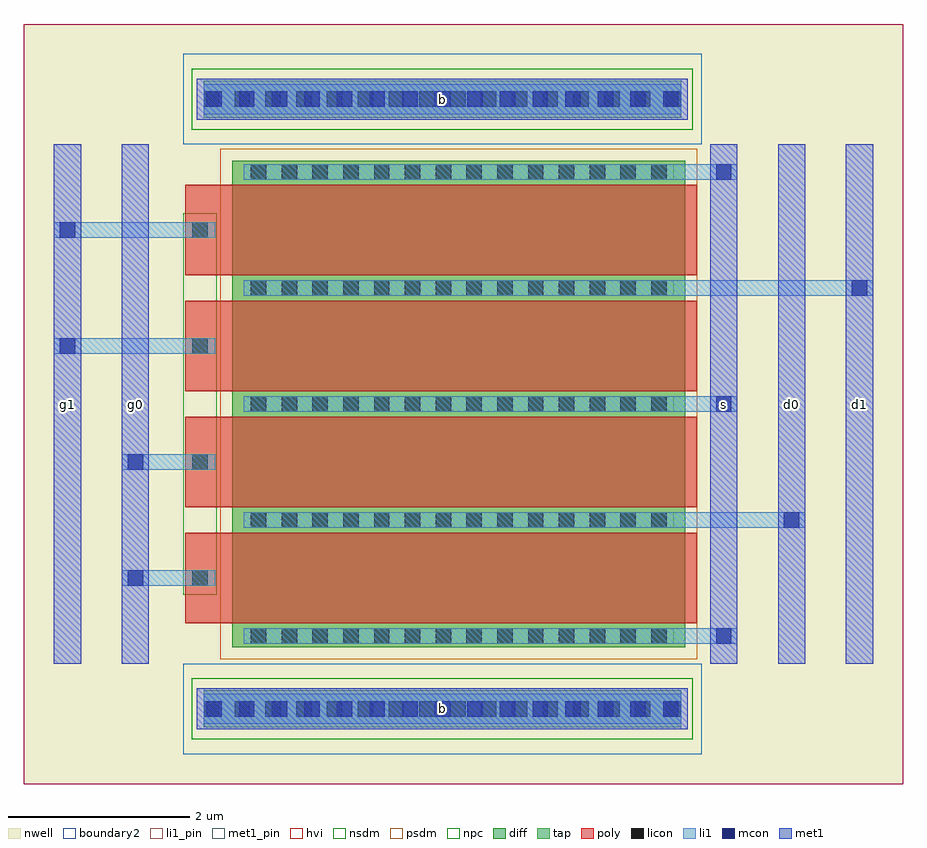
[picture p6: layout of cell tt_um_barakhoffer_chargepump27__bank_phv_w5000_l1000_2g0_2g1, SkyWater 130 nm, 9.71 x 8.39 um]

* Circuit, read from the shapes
.subckt tt_um_barakhoffer_chargepump27__bank_phv_w5000_l1000_2g0_2g1 b d0 d1 g0 g1 s
XM1 d0 g0 s b sky130_fd_pr__pfet_g5v0d10v5 w=5 l=1 m=2
XM2 d1 g1 s b sky130_fd_pr__pfet_g5v0d10v5 w=5 l=1 m=2
.ends

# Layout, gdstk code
import gdstk
lib = gdstk.Library(unit=1e-6, precision=1e-09)
def R(c, l, rs):  # rectangles x0, y0, x1, y1
    for r in rs: c.add(gdstk.rectangle(r[:2], r[2:], *l))
def A(c, l, x, y, w, h, nx, ny, dx, dy):  # array of equal rectangles
    R(c, l, [(x+i*dx, y+j*dy, x+i*dx+w, y+j*dy+h) for i in range(nx) for j in range(ny)])
nwell = (64, 20)
diff = (65, 20)
tap = (65, 44)
poly = (66, 20)
licon = (66, 44)
li1_pin = (67, 16)
li1 = (67, 20)
mcon = (67, 44)
met1_pin = (68, 16)
met1 = (68, 20)
hvi = (75, 20)
nsdm = (93, 44)
psdm = (94, 20)
npc = (95, 20)
boundary2 = (236, 0)

tt_um_barakhoffer_charge = lib.new_cell('tt_um_barakhoffer_chargepump27__mos_11')
R(tt_um_barakhoffer_charge, nwell, [(-0.18,-0.18,5.18,5.55)])
A(tt_um_barakhoffer_charge, diff, 0.145, 0, 4.71, 0.25, 1, 5, 0, 1.28)
R(tt_um_barakhoffer_charge, diff, [(0,0,5,5.37)])
A(tt_um_barakhoffer_charge, poly, -0.52, 0.265, 0.33, 1, 1, 4, 0, 1.28)
A(tt_um_barakhoffer_charge, poly, -0.19, 0.265, 5.32, 1, 1, 4, 0, 1.28)
A(tt_um_barakhoffer_charge, poly, -0.52, 0.63, 0.33, 0.27, 1, 4, 0, 1.28)
A(tt_um_barakhoffer_charge, licon, 0.205, 0.04, 0.17, 0.17, 14, 5, 0.34, 1.28)
A(tt_um_barakhoffer_charge, licon, -0.44, 0.68, 0.17, 0.17, 1, 4, 0, 1.28)
A(tt_um_barakhoffer_charge, li1_pin, 0.125, 0.04, 4.75, 0.17, 1, 5, 0, 1.28)
A(tt_um_barakhoffer_charge, li1_pin, -0.52, 0.68, 0.33, 0.17, 1, 4, 0, 1.28)
R(tt_um_barakhoffer_charge, li1, [(0.125,0.04,4.875,0.21), (0.125,0.04,4.875,0.21), (-0.52,0.68,-0.19,0.85), (-0.52,0.68,-0.19,0.85), (0.125,1.32,4.875,1.49), (0.125,1.32,4.875,1.49), (-0.52,1.96,-0.19,2.13), (-0.52,1.96,-0.19,2.13), (0.125,2.6,4.875,2.77), (0.125,2.6,4.875,2.77), (-0.52,3.24,-0.19,3.41), (-0.52,3.24,-0.19,3.41), (0.125,3.88,4.875,4.05), (0.125,3.88,4.875,4.05), (-0.52,4.52,-0.19,4.69), (-0.52,4.52,-0.19,4.69), (0.125,5.16,4.875,5.33), (0.125,5.16,4.875,5.33)])
R(tt_um_barakhoffer_charge, hvi, [(-0.135,-0.135,5.135,5.505)])
R(tt_um_barakhoffer_charge, psdm, [(-0.135,-0.135,5.135,5.505)])
A(tt_um_barakhoffer_charge, npc, -0.54, 0.58, 0.37, 0.37, 1, 4, 0, 1.28)
R(tt_um_barakhoffer_charge, npc, [(-0.54,0.58,-0.17,4.79)])
tt_um_barakhoffer_charge.add(gdstk.Label('gate_2', (-0.355,3.325), layer=67, texttype=5))
tt_um_barakhoffer_charge.add(gdstk.Label('sd_0_1', (2.5,1.405), layer=67, texttype=5))
tt_um_barakhoffer_charge.add(gdstk.Label('sd_0_4', (2.5,5.245), layer=67, texttype=5))
tt_um_barakhoffer_charge.add(gdstk.Label('sd_0_0', (2.5,0.125), layer=67, texttype=5))
tt_um_barakhoffer_charge.add(gdstk.Label('sd_0_2', (2.5,2.685), layer=67, texttype=5))
tt_um_barakhoffer_charge.add(gdstk.Label('gate_1', (-0.355,2.045), layer=67, texttype=5))
tt_um_barakhoffer_charge.add(gdstk.Label('gate_0', (-0.355,0.765), layer=67, texttype=5))
tt_um_barakhoffer_charge.add(gdstk.Label('gate_3', (-0.355,4.605), layer=67, texttype=5))
tt_um_barakhoffer_charge.add(gdstk.Label('sd_0_3', (2.5,3.965), layer=67, texttype=5))

c_tt_um_barakhoffer_charge = lib.new_cell('tt_um_barakhoffer_chargepump27__bank_phv_w5000_l1000_2g0_2g1')
R(c_tt_um_barakhoffer_charge, nwell, [(-1.76,-0.33,7.945,8.06)])
R(c_tt_um_barakhoffer_charge, tap, [(0.225,0.295,5.495,0.705), (0.225,7.025,5.495,7.435)])
A(c_tt_um_barakhoffer_charge, licon, 0.225, 0.415, 0.17, 0.17, 16, 2, 0.34, 6.73)
A(c_tt_um_barakhoffer_charge, li1, 0.665, 1.22, 5.45, 0.17, 1, 3, 0, 2.56)
A(c_tt_um_barakhoffer_charge, li1, 5.88, 1.22, 0.17, 0.17, 1, 3, 0, 2.56)
R(c_tt_um_barakhoffer_charge, li1, [(0.225,0.335,5.495,0.665), (0.255,0.415,5.465,0.585), (-0.68,1.86,0.35,2.03), (-0.615,1.86,-0.445,2.03), (0.665,2.5,6.865,2.67), (6.63,2.5,6.8,2.67), (-0.68,3.14,0.35,3.31), (-0.615,3.14,-0.445,3.31), (-1.43,4.42,0.35,4.59), (-1.365,4.42,-1.195,4.59), (0.665,5.06,7.615,5.23), (7.38,5.06,7.55,5.23), (-1.43,5.7,0.35,5.87), (-1.365,5.7,-1.195,5.87), (0.225,7.065,5.495,7.395), (0.255,7.145,5.465,7.315)])
A(c_tt_um_barakhoffer_charge, mcon, 0.255, 0.415, 0.17, 0.17, 15, 2, 0.36, 6.73)
A(c_tt_um_barakhoffer_charge, mcon, 5.88, 1.22, 0.17, 0.17, 1, 3, 0, 2.56)
R(c_tt_um_barakhoffer_charge, mcon, [(-0.615,1.86,-0.445,2.03), (6.63,2.5,6.8,2.67), (-0.615,3.14,-0.445,3.31), (-1.365,4.42,-1.195,4.59), (7.38,5.06,7.55,5.23), (-1.365,5.7,-1.195,5.87)])
A(c_tt_um_barakhoffer_charge, met1_pin, 5.815, 1, 0.3, 5.73, 3, 1, 0.75, 0)
R(c_tt_um_barakhoffer_charge, met1_pin, [(0.15,0.275,5.57,0.725), (-1.43,1,-1.13,6.73), (-0.68,1,-0.38,6.73), (0.15,7.005,5.57,7.455)])
A(c_tt_um_barakhoffer_charge, met1, 5.82, 1.19, 0.29, 0.23, 1, 3, 0, 2.56)
R(c_tt_um_barakhoffer_charge, met1, [(0.15,0.275,5.57,0.725), (0.15,0.275,5.57,0.725), (0.195,0.385,5.525,0.615), (-1.43,1,-1.13,6.73), (-1.43,1,-1.13,6.73), (-0.68,1,-0.38,6.73), (-0.68,1,-0.38,6.73), (5.815,1,6.115,6.73), (5.815,1,6.115,6.73), (6.565,1,6.865,6.73), (6.565,1,6.865,6.73), (7.315,1,7.615,6.73), (7.315,1,7.615,6.73), (-0.675,1.83,-0.385,2.06), (6.57,2.47,6.86,2.7), (-0.675,3.11,-0.385,3.34), (-1.425,4.39,-1.135,4.62), (7.32,5.03,7.61,5.26), (-1.425,5.67,-1.135,5.9), (0.15,7.005,5.57,7.455), (0.15,7.005,5.57,7.455), (0.195,7.115,5.525,7.345)])
R(c_tt_um_barakhoffer_charge, hvi, [(-1.76,-0.33,7.945,8.06)])
R(c_tt_um_barakhoffer_charge, nsdm, [(0.095,0.165,5.625,0.835), (0.095,6.895,5.625,7.565)])
R(c_tt_um_barakhoffer_charge, boundary2, [(0,0,5.72,1), (0,6.73,5.72,7.73)])
c_tt_um_barakhoffer_charge.add(gdstk.Reference(tt_um_barakhoffer_charge, (0.54,1.18)))
c_tt_um_barakhoffer_charge.add(gdstk.Label('s', (5.965,3.865), layer=68, texttype=5))
c_tt_um_barakhoffer_charge.add(gdstk.Label('g0', (-0.53,3.865), layer=68, texttype=5))
c_tt_um_barakhoffer_charge.add(gdstk.Label('g1', (-1.28,3.865), layer=68, texttype=5))
c_tt_um_barakhoffer_charge.add(gdstk.Label('b', (2.86,0.5), layer=68, texttype=5))
c_tt_um_barakhoffer_charge.add(gdstk.Label('b', (2.86,7.23), layer=68, texttype=5))
c_tt_um_barakhoffer_charge.add(gdstk.Label('d0', (6.715,3.865), layer=68, texttype=5))
c_tt_um_barakhoffer_charge.add(gdstk.Label('d1', (7.465,3.865), layer=68, texttype=5))

lib.write_gds('tt_um_barakhoffer_chargepump27__bank_phv_w5000_l1000_2g0_2g1.gds')
